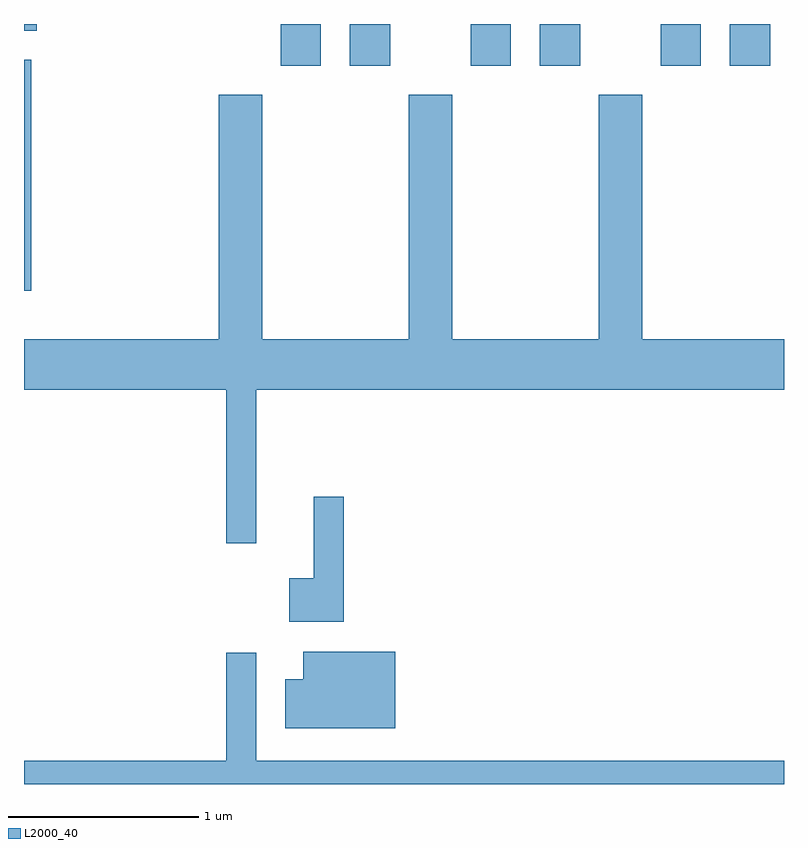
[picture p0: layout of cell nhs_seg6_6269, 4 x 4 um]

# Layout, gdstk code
import gdstk
lib = gdstk.Library(unit=1e-6, precision=1e-09)
def R(c, l, rs):  # rectangles x0, y0, x1, y1
    for r in rs: c.add(gdstk.rectangle(r[:2], r[2:], *l))
def P(c, l, *ps):  # polygons
    for p in ps: c.add(gdstk.Polygon(p, *l))
L2000_40 = (2000, 40)

nhs_seg6_6269 = lib.new_cell('nhs_seg6_6269')
R(nhs_seg6_6269, L2000_40, [(375.611,1572.758,375.649,1573.974), (376.961,1573.941,377.174,1574.162), (377.326,1573.941,377.539,1574.162), (377.961,1573.941,378.174,1574.162), (378.326,1573.941,378.539,1574.162), (378.961,1573.941,379.174,1574.162), (379.326,1573.941,379.539,1574.162), (375.611,1574.126,375.679,1574.162)])
P(nhs_seg6_6269, L2000_40, [(376.834,1572.236),(379.611,1572.236),(379.611,1572.504),(378.864,1572.504),(378.864,1573.789),(378.636,1573.789),(378.636,1572.504),(377.864,1572.504),(377.864,1573.789),(377.636,1573.789),(377.636,1572.504),(376.864,1572.504),(376.864,1573.789),(376.636,1573.789),(376.636,1572.504),(375.611,1572.504),(375.611,1572.236),(376.676,1572.236),(376.676,1571.428),(376.834,1571.428)],
  [(377.294,1571.673),(377.136,1571.673),(377.136,1571.244),(377.006,1571.244),(377.006,1571.016),(377.294,1571.016)],
  [(377.564,1570.859),(377.081,1570.859),(377.081,1570.714),(376.986,1570.714),(376.986,1570.456),(377.564,1570.456)],
  [(379.611,1570.284),(376.834,1570.284),(376.834,1570.853),(376.676,1570.853),(376.676,1570.284),(375.611,1570.284),(375.611,1570.162),(379.611,1570.162)])

lib.write_gds('nhs_seg6_6269.gds')
